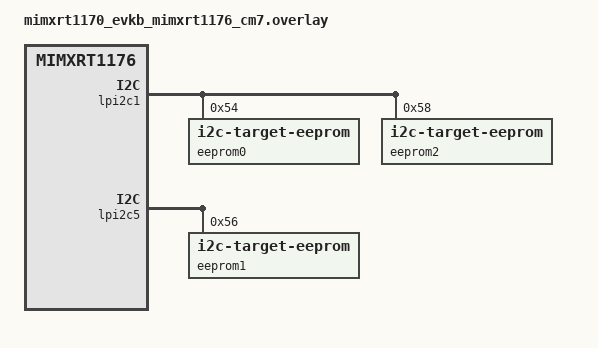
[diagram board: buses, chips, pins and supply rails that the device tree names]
/*
 * Copyright 2023 NXP
 *
 * SPDX-License-Identifier: Apache-2.0
 */

/* To test this sample, connect J26.12 <-> J10.20 and J26.10 <-> J10.18 */

&lpi2c1 {
	status = "okay";
	eeprom0: eeprom@54 {
		compatible = "zephyr,i2c-target-eeprom";
		reg = <0x54>;
		size = <256>;
	};
	eeprom2: eeprom@58 {
		compatible = "zephyr,i2c-target-eeprom";
		reg = <0x58>;
		size = <4096>;
		address-width = <16>;
		read-only;
	};
};

&lpi2c5 {
	status = "okay";
	eeprom1: eeprom@56 {
		compatible = "zephyr,i2c-target-eeprom";
		reg = <0x56>;
		size = <256>;
	};
};
